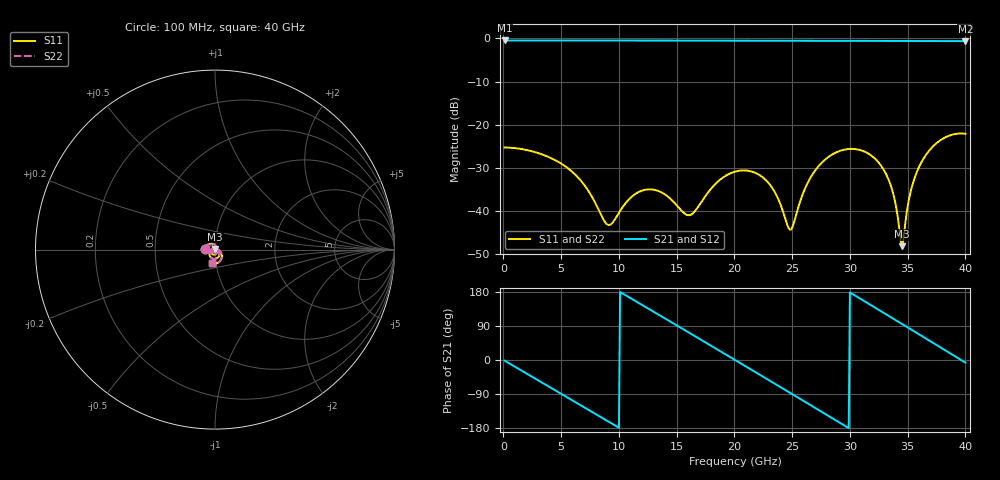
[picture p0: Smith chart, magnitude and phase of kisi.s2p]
! thru_s4_L4: 2×thru, L4, 8 mm
! stackup: 4-layer 1.6 mm FR-4
! ports: 1, 2
! kisi-fdtd, conformal, dfine 0.035 mm, 345984 cells
# Hz S RI R 50
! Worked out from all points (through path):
!   400 points, 100 MHz to 40 GHz, reference 50 ohm
!   highest |S21| = -0.47 dB at 100 MHz (marker M1); lowest = -0.6 dB at 40 GHz (marker M2)
!   group delay of S21, straight-line fit = 50.4 ps
!   lowest |S11| = -48.2 dB at 34.5 GHz (marker M3), VSWR 1.01, Z = 50 + j0.388 ohm
!   |S11| at or under -10 dB: start of sweep to end of sweep
!   |S22| runs from -48.2 to -22.1 dB; largest |S21 - S12| = 0
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1e8  -0.0543 0.00123  0.9467 -0.0295  0.9467 -0.0295  -0.0543 0.00123
1.8e9  -0.0472 0.0204  0.8019 -0.5038  0.8019 -0.5038  -0.0472 0.0204
3.7e9  -0.0287 0.0324  0.3839 -0.8652  0.3839 -0.8652  -0.0287 0.0324
6.8e9  0.004 0.0212  -0.4935 -0.8067  -0.4935 -0.8067  0.004 0.0212
9.1e9  0.00606 -0.0032  -0.9019 -0.2825  -0.9019 -0.2825  0.00606 -0.0032
1.12e10  -0.0102 -0.0109  -0.8862 0.3271  -0.8862 0.3271  -0.0102 -0.0109
1.34e10  -0.0168 0.0029  -0.475 0.816  -0.475 0.816  -0.0168 0.0029
1.64e10  0.00806 0.00477  0.3817 0.8623  0.3817 0.8623  0.00806 0.00477
1.84e10  0.0118 -0.0172  0.8162 0.4705  0.8162 0.4705  0.0118 -0.0172
2.01e10  -0.00375 -0.0284  0.9411 -0.0139  0.9411 -0.0139  -0.00375 -0.0284
2.28e10  -0.0207 -0.00799  0.6054 -0.719  0.6054 -0.719  -0.0207 -0.00799
2.48e10  -0.000235 0.00603  0.0595 -0.9373  0.0595 -0.9373  -0.000235 0.00603
2.67e10  0.0232 -0.011  -0.4848 -0.8035  -0.4848 -0.8035  0.0232 -0.011
3e10  -0.00559 -0.052  -0.9365 0.0276  -0.9365 0.0276  -0.00559 -0.052
3.2e10  -0.0306 -0.0291  -0.7319 0.583  -0.7319 0.583  -0.0306 -0.0291
3.34e10  -0.0216 -0.00446  -0.404 0.843  -0.404 0.843  -0.0216 -0.00446
3.4e10  -0.0109 0.00198  -0.2341 0.9046  -0.2341 0.9046  -0.0109 0.00198
3.45e10  -0.000204 0.00389  -0.0856 0.9301  -0.0856 0.9301  -0.000204 0.00389
3.53e10  0.0175 -0.000622  0.155 0.9205  0.155 0.9205  0.0175 -0.000622
3.63e10  0.0341 -0.0184  0.4394 0.8229  0.4394 0.8229  0.0341 -0.0184
3.82e10  0.0266 -0.0653  0.8331 0.4169  0.8331 0.4169  0.0266 -0.0653
4e10  -0.0182 -0.0761  0.9235 -0.113  0.9235 -0.113  -0.0182 -0.0761
